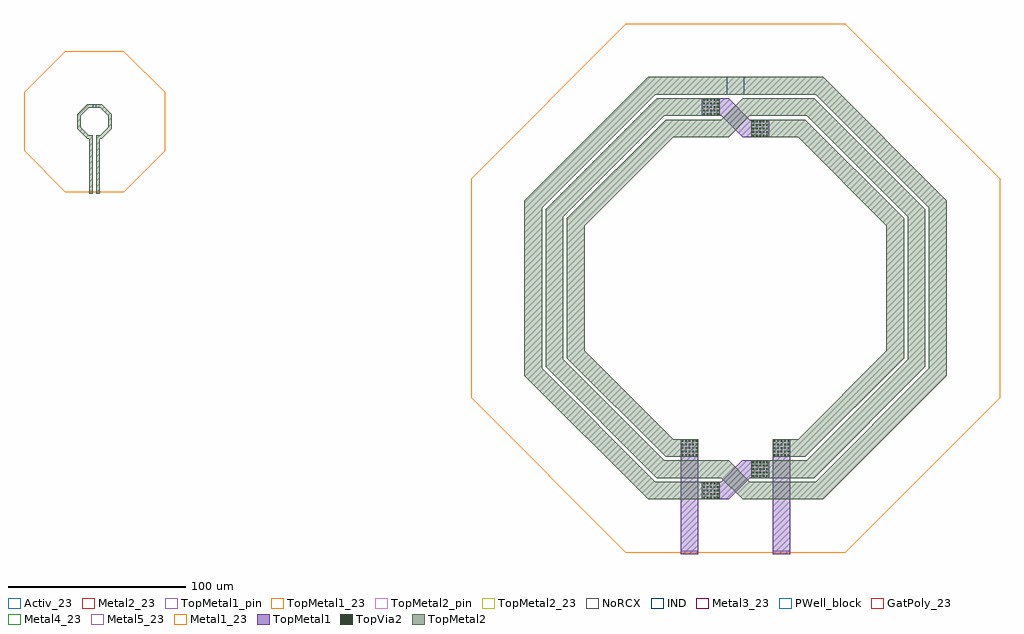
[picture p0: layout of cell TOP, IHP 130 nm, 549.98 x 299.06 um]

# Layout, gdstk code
import gdstk
lib = gdstk.Library(unit=1e-6, precision=1e-09)
def R(c, l, rs):  # rectangles x0, y0, x1, y1
    for r in rs: c.add(gdstk.rectangle(r[:2], r[2:], *l))
def A(c, l, x, y, w, h, nx, ny, dx, dy):  # array of equal rectangles
    R(c, l, [(x+i*dx, y+j*dy, x+i*dx+w, y+j*dy+h) for i in range(nx) for j in range(ny)])
def P(c, l, *ps):  # polygons
    for p in ps: c.add(gdstk.Polygon(p, *l))
Activ_23 = (1, 23)
GatPoly_23 = (5, 23)
Metal1_23 = (8, 23)
Metal2_23 = (10, 23)
IND = (27, 0)
Metal3_23 = (30, 23)
PWell_block = (46, 21)
Metal4_23 = (50, 23)
Metal5_23 = (67, 23)
TopMetal1 = (126, 0)
TopMetal1_pin = (126, 2)
TopMetal1_23 = (126, 23)
TopVia2 = (133, 0)
TopMetal2 = (134, 0)
TopMetal2_pin = (134, 2)
TopMetal2_23 = (134, 23)
NoRCX = (148, 0)

inductor2_1 = lib.new_cell('inductor2$1')
P(inductor2_1, Activ_23, [(-61.73,0),(-149.03,87.3),(-149.03,210.76),(-61.73,298.06),(61.73,298.06),(149.03,210.76),(149.03,87.3),(61.73,0)])
P(inductor2_1, GatPoly_23, [(-61.73,0),(-149.03,87.3),(-149.03,210.76),(-61.73,298.06),(61.73,298.06),(149.03,210.76),(149.03,87.3),(61.73,0)])
P(inductor2_1, Metal1_23, [(-61.73,0),(-149.03,87.3),(-149.03,210.76),(-61.73,298.06),(61.73,298.06),(149.03,210.76),(149.03,87.3),(61.73,0)])
P(inductor2_1, Metal2_23, [(-61.73,0),(-149.03,87.3),(-149.03,210.76),(-61.73,298.06),(61.73,298.06),(149.03,210.76),(149.03,87.3),(61.73,0)])
R(inductor2_1, IND, [(-5.01,258.03,5.01,268.05)])
P(inductor2_1, Metal3_23, [(-61.73,0),(-149.03,87.3),(-149.03,210.76),(-61.73,298.06),(61.73,298.06),(149.03,210.76),(149.03,87.3),(61.73,0)])
P(inductor2_1, PWell_block, [(-61.73,0),(-149.03,87.3),(-149.03,210.76),(-61.73,298.06),(61.73,298.06),(149.03,210.76),(149.03,87.3),(61.73,0)])
P(inductor2_1, Metal4_23, [(-61.73,0),(-149.03,87.3),(-149.03,210.76),(-61.73,298.06),(61.73,298.06),(149.03,210.76),(149.03,87.3),(61.73,0)])
P(inductor2_1, Metal5_23, [(-61.73,0),(-149.03,87.3),(-149.03,210.76),(-61.73,298.06),(61.73,298.06),(149.03,210.76),(149.03,87.3),(61.73,0)])
P(inductor2_1, TopMetal1, [(3.95,234),(-8.07,246.02),(-18.915,246.02),(-18.915,256.02),(-3.95,256.02),(8.07,244),(18.915,244),(18.915,234)],
  [(-18.915,30),(-18.915,40),(-8.08,40),(3.92,52),(18.925,52),(18.925,42),(8.07,42),(-3.93,30)])
R(inductor2_1, TopMetal1_pin, [(-30.915,-1,-20.915,1), (20.915,-1,30.915,1)])
P(inductor2_1, TopMetal1_23, [(-61.73,0),(-149.03,87.3),(-149.03,210.76),(-61.73,298.06),(61.73,298.06),(149.03,210.76),(149.03,87.3),(61.73,0)])
A(inductor2_1, TopVia2, -18.285, 30.63, 0.9, 0.9, 5, 5, 1.96, 1.96)
A(inductor2_1, TopVia2, 9.555, 42.63, 0.9, 0.9, 5, 5, 1.96, 1.96)
A(inductor2_1, TopVia2, -30.285, 54.63, 0.9, 0.9, 5, 5, 1.96, 1.96)
A(inductor2_1, TopVia2, 21.545, 54.63, 0.9, 0.9, 5, 5, 1.96, 1.96)
A(inductor2_1, TopVia2, 9.545, 234.63, 0.9, 0.9, 5, 5, 1.96, 1.96)
A(inductor2_1, TopVia2, -18.285, 246.63, 0.9, 0.9, 5, 5, 1.96, 1.96)
R(inductor2_1, TopMetal2, [(-8.915,258.04,8.915,268.04)])
P(inductor2_1, TopMetal2, [(20.915,54),(20.915,64),(35.205,64),(85,113.795),(85,184.205),(35.205,234),(8.915,234),(8.915,244),(39.355,244),(95,188.355),(95,109.645),(39.355,54)],
  [(-39.355,54),(-95,109.645),(-95,188.355),(-39.355,244),(-8.915,244),(-8.915,234),(-35.205,234),(-85,184.205),(-85,113.795),(-35.205,64),(-20.915,64),(-20.915,54)],
  [(-8.915,234),(-8.915,244),(-8.07,244),(3.95,256.02),(8.915,256.02),(8.915,246.02),(8.1,246.02),(-3.92,234)],
  [(8.915,42),(8.915,52),(40.18,52),(97.01,108.83),(97.01,189.19),(40.18,246.02),(8.915,246.02),(8.915,256.02),(44.33,256.02),(107.01,193.34),(107.01,104.68),(44.33,42)],
  [(-44.33,42),(-107.01,104.68),(-107.01,193.34),(-44.33,256.02),(-8.915,256.02),(-8.915,246.02),(-40.18,246.02),(-97.01,189.19),(-97.01,108.83),(-40.18,52),(-8.915,52),(-8.915,42)],
  [(8.915,30),(8.915,40),(45.155,40),(109.02,103.865),(109.02,194.175),(45.155,258.04),(8.915,258.04),(8.915,268.04),(49.305,268.04),(119.02,198.325),(119.02,99.715),(49.305,30)],
  [(-49.305,30),(-119.02,99.715),(-119.02,198.325),(-49.305,268.04),(-8.915,268.04),(-8.915,258.04),(-45.155,258.04),(-109.02,194.175),(-109.02,103.865),(-45.155,40),(-8.915,40),(-8.915,30)],
  [(3.93,30),(-8.07,42),(-8.915,42),(-8.915,52),(-3.92,52),(8.08,40),(8.915,40),(8.915,30)])
P(inductor2_1, TopMetal2_23, [(-61.73,0),(-149.03,87.3),(-149.03,210.76),(-61.73,298.06),(61.73,298.06),(149.03,210.76),(149.03,87.3),(61.73,0)])
P(inductor2_1, NoRCX, [(-61.73,0),(-149.03,87.3),(-149.03,210.76),(-61.73,298.06),(61.73,298.06),(149.03,210.76),(149.03,87.3),(61.73,0)])
inductor2_1.add(gdstk.FlexPath([(25.915,-1),(25.915,64)], 10, ends="flush", simple_path=True, layer=126, datatype=0))  # TopMetal1
inductor2_1.add(gdstk.FlexPath([(-25.915,-1),(-25.915,64)], 10, ends="flush", simple_path=True, layer=126, datatype=0))  # TopMetal1
inductor2_1.add(gdstk.Label('L2_TM2', (0,263.04), layer=63, texttype=0))
inductor2_1.add(gdstk.Label('l=3n', (0,266.373), layer=63, texttype=0))
inductor2_1.add(gdstk.Label('r=1m', (0,259.707), layer=63, texttype=0))
inductor2_1.add(gdstk.Label('LB', (25.915,0), layer=63, texttype=0))
inductor2_1.add(gdstk.Label('LA', (-25.915,0), layer=63, texttype=0))
inductor2_1.add(gdstk.Label('inductor2', (0,153.71), layer=63, texttype=0))

inductor2 = lib.new_cell('inductor2')
P(inductor2, Activ_23, [(-16.46,0),(-39.75,23.29),(-39.75,56.21),(-16.46,79.5),(16.46,79.5),(39.75,56.21),(39.75,23.29),(16.46,0)])
P(inductor2, GatPoly_23, [(-16.46,0),(-39.75,23.29),(-39.75,56.21),(-16.46,79.5),(16.46,79.5),(39.75,56.21),(39.75,23.29),(16.46,0)])
P(inductor2, Metal1_23, [(-16.46,0),(-39.75,23.29),(-39.75,56.21),(-16.46,79.5),(16.46,79.5),(39.75,56.21),(39.75,23.29),(16.46,0)])
P(inductor2, Metal2_23, [(-16.46,0),(-39.75,23.29),(-39.75,56.21),(-16.46,79.5),(16.46,79.5),(39.75,56.21),(39.75,23.29),(16.46,0)])
R(inductor2, IND, [(-1.01,47.47,1.01,49.49)])
P(inductor2, Metal3_23, [(-16.46,0),(-39.75,23.29),(-39.75,56.21),(-16.46,79.5),(16.46,79.5),(39.75,56.21),(39.75,23.29),(16.46,0)])
P(inductor2, PWell_block, [(-16.46,0),(-39.75,23.29),(-39.75,56.21),(-16.46,79.5),(16.46,79.5),(39.75,56.21),(39.75,23.29),(16.46,0)])
P(inductor2, Metal4_23, [(-16.46,0),(-39.75,23.29),(-39.75,56.21),(-16.46,79.5),(16.46,79.5),(39.75,56.21),(39.75,23.29),(16.46,0)])
P(inductor2, Metal5_23, [(-16.46,0),(-39.75,23.29),(-39.75,56.21),(-16.46,79.5),(16.46,79.5),(39.75,56.21),(39.75,23.29),(16.46,0)])
P(inductor2, TopMetal1_23, [(-16.46,0),(-39.75,23.29),(-39.75,56.21),(-16.46,79.5),(16.46,79.5),(39.75,56.21),(39.75,23.29),(16.46,0)])
R(inductor2, TopMetal2, [(-3.35,47.48,3.35,49.48)])
P(inductor2, TopMetal2, [(1.05,30),(1.05,32),(3.205,32),(7.74,36.535),(7.74,42.945),(3.205,47.48),(3.35,47.48),(3.35,49.48),(4.04,49.48),(9.74,43.78),(9.74,35.7),(4.04,30)],
  [(-4.04,30),(-9.74,35.7),(-9.74,43.78),(-4.04,49.48),(-3.35,49.48),(-3.35,47.48),(-3.205,47.48),(-7.74,42.945),(-7.74,36.535),(-3.205,32),(-1.05,32),(-1.05,30)])
R(inductor2, TopMetal2_pin, [(-3.05,-1,-1.05,1), (1.05,-1,3.05,1)])
P(inductor2, TopMetal2_23, [(-16.46,0),(-39.75,23.29),(-39.75,56.21),(-16.46,79.5),(16.46,79.5),(39.75,56.21),(39.75,23.29),(16.46,0)])
P(inductor2, NoRCX, [(-16.46,0),(-39.75,23.29),(-39.75,56.21),(-16.46,79.5),(16.46,79.5),(39.75,56.21),(39.75,23.29),(16.46,0)])
inductor2.add(gdstk.FlexPath([(2.05,-1),(2.05,32)], 2, ends="flush", simple_path=True, layer=134, datatype=0))  # TopMetal2
inductor2.add(gdstk.FlexPath([(-2.05,-1),(-2.05,32)], 2, ends="flush", simple_path=True, layer=134, datatype=0))  # TopMetal2
inductor2.add(gdstk.Label('L2_TM2', (0,48.48), layer=63, texttype=0))
inductor2.add(gdstk.Label('l=1p', (0,49.147), layer=63, texttype=0))
inductor2.add(gdstk.Label('r=1m', (0,47.813), layer=63, texttype=0))
inductor2.add(gdstk.Label('LB', (2.05,0), layer=63, texttype=0))
inductor2.add(gdstk.Label('LA', (-2.05,0), layer=63, texttype=0))
inductor2.add(gdstk.Label('inductor2', (0,39.183), layer=63, texttype=0))

top = lib.new_cell('TOP')
top.add(gdstk.Reference(inductor2_1, (3.25,6.155)))
top.add(gdstk.Reference(inductor2, (-357.945,209.26)))

lib.write_gds('TOP.gds')
